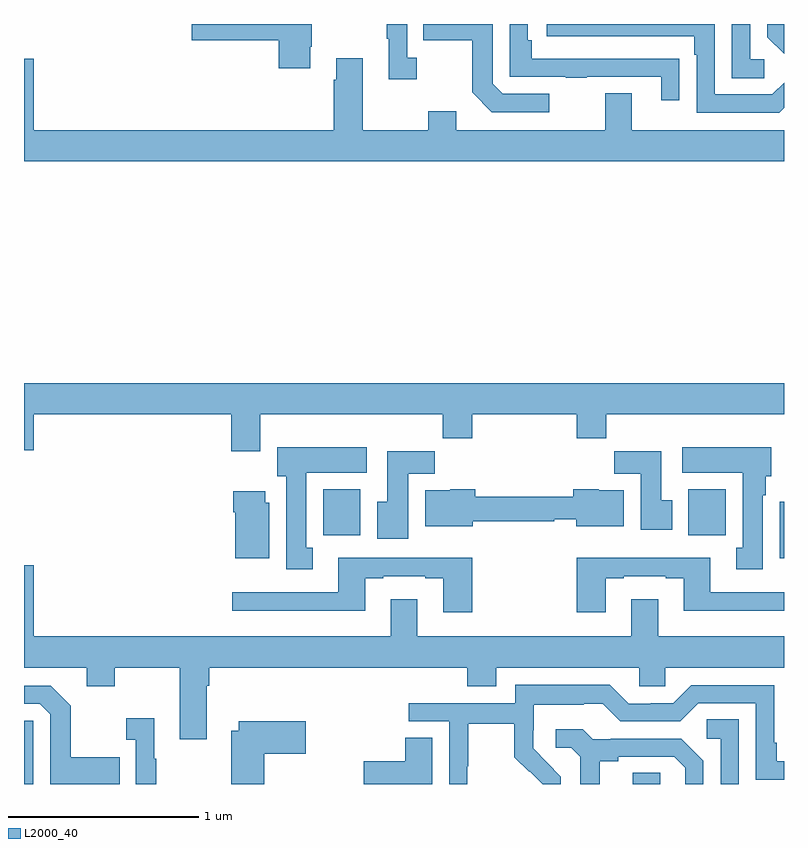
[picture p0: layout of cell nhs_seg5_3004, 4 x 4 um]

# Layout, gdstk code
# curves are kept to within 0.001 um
import gdstk
lib = gdstk.Library(unit=1e-6, precision=1e-09)
def R(c, l, rs):  # rectangles x0, y0, x1, y1
    for r in rs: c.add(gdstk.rectangle(r[:2], r[2:], *l))
def P(c, l, *ps):  # polygons
    for p in ps: c.add(gdstk.Polygon(p, *l))
L2000_40 = (2000, 40)

nhs_seg5_3004 = lib.new_cell('nhs_seg5_3004')
R(nhs_seg5_3004, L2000_40, [(285,870.799,285.048,871.131), (288.203,870.799,288.348,870.857), (288.977,871.988,289,872.284), (286.574,872.108,286.771,872.35), (288.497,872.108,288.694,872.35)])
P(nhs_seg5_3004, L2000_40, [(289,874.357),(289,874.489),(288.939,874.428),(288.636,874.428),(288.636,874.799),(287.751,874.799),(287.751,874.734),(288.527,874.734),(288.527,874.637),(288.54,874.637),(288.54,874.332),(288.975,874.332)],
  [(289,874.799),(288.912,874.799),(288.912,874.73),(289,874.642)],
  [(288.449,874.616),(288.347,874.616),(288.347,874.617),(287.672,874.617),(287.672,874.714),(287.652,874.714),(287.652,874.799),(287.556,874.799),(287.556,874.521),(287.851,874.521),(287.851,874.516),(287.963,874.516),(287.963,874.521),(288.353,874.521),(288.353,874.398),(288.449,874.398)],
  [(286.507,874.678),(286.515,874.678),(286.515,874.799),(285.882,874.799),(285.882,874.714),(286.34,874.714),(286.34,874.566),(286.507,874.566)],
  [(287.764,874.431),(287.52,874.431),(287.466,874.485),(287.466,874.799),(287.101,874.799),(287.101,874.714),(287.358,874.714),(287.358,874.441),(287.463,874.335),(287.764,874.335)],
  [(287.068,874.622),(287.016,874.622),(287.016,874.799),(286.908,874.799),(286.908,874.721),(286.919,874.721),(286.919,874.509),(287.068,874.509)],
  [(288.895,874.614),(288.822,874.614),(288.822,874.799),(288.726,874.799),(288.726,874.513),(288.895,874.513)],
  [(289,874.24),(288.199,874.24),(288.199,874.435),(288.059,874.435),(288.059,874.24),(287.275,874.24),(287.275,874.339),(287.128,874.339),(287.128,874.24),(286.783,874.24),(286.783,874.618),(286.643,874.618),(286.643,874.505),(286.631,874.505),(286.631,874.24),(285.052,874.24),(285.052,874.615),(285,874.615),(285,874.076),(289,874.076)],
  [(286.243,872.744),(287.203,872.744),(287.203,872.62),(287.36,872.62),(287.36,872.744),(287.909,872.744),(287.909,872.62),(288.065,872.62),(288.065,872.744),(289,872.744),(289,872.908),(285,872.908),(285,872.556),(285.052,872.556),(285.052,872.744),(286.091,872.744),(286.091,872.55),(286.243,872.55)],
  [(288.889,872.318),(288.904,872.318),(288.904,872.418),(288.934,872.418),(288.934,872.572),(288.465,872.572),(288.465,872.438),(288.782,872.438),(288.782,872.042),(288.749,872.042),(288.749,871.929),(288.889,871.929)],
  [(286.519,872.042),(286.486,872.042),(286.486,872.438),(286.804,872.438),(286.804,872.572),(286.334,872.572),(286.334,872.418),(286.379,872.418),(286.379,871.929),(286.519,871.929)],
  [(288.412,872.292),(288.355,872.292),(288.355,872.551),(288.106,872.551),(288.106,872.432),(288.245,872.432),(288.245,872.136),(288.412,872.136)],
  [(287.023,872.432),(287.162,872.432),(287.162,872.551),(286.913,872.551),(286.913,872.284),(286.859,872.284),(286.859,872.091),(287.023,872.091)],
  [(287.362,872.182),(287.792,872.182),(287.792,872.193),(287.906,872.193),(287.906,872.156),(288.157,872.156),(288.157,872.344),(288.024,872.344),(288.024,872.35),(287.892,872.35),(287.892,872.311),(287.375,872.311),(287.375,872.35),(287.244,872.35),(287.244,872.344),(287.111,872.344),(287.111,872.156),(287.362,872.156)],
  [(286.291,872.28),(286.27,872.28),(286.27,872.341),(286.1,872.341),(286.1,872.228),(286.112,872.228),(286.112,871.988),(286.291,871.988)],
  [(287.36,871.99),(287.115,871.99),(287.115,871.989),(286.655,871.989),(286.655,871.809),(286.095,871.809),(286.095,871.712),(286.795,871.712),(286.795,871.881),(286.891,871.881),(286.891,871.893),(287.111,871.893),(287.111,871.881),(287.207,871.881),(287.207,871.704),(287.36,871.704)],
  [(288.061,871.881),(288.157,871.881),(288.157,871.893),(288.377,871.893),(288.377,871.881),(288.473,871.881),(288.473,871.712),(289,871.712),(289,871.809),(288.613,871.809),(288.613,871.99),(287.909,871.99),(287.909,871.704),(288.061,871.704)],
  [(285.961,871.316),(285.974,871.316),(285.974,871.412),(287.333,871.412),(287.333,871.313),(287.485,871.313),(287.485,871.412),(288.237,871.412),(288.237,871.314),(288.375,871.314),(288.375,871.412),(289,871.412),(289,871.576),(288.337,871.576),(288.337,871.771),(288.197,871.771),(288.197,871.576),(287.071,871.576),(287.071,871.771),(286.931,871.771),(286.931,871.576),(285.052,871.576),(285.052,871.951),(285,871.951),(285,871.412),(285.329,871.412),(285.329,871.313),(285.477,871.313),(285.477,871.412),(285.821,871.412),(285.821,871.035),(285.961,871.035)],
  [(287.334,870.892),(287.337,870.892),(287.337,871.116),(287.581,871.116),(287.581,870.941),(287.658,870.864),(287.661,870.867),(287.73,870.799),(287.826,870.799),(287.826,870.838),(287.68,870.986),(287.68,871.083),(287.682,871.083),(287.682,871.217),(287.945,871.217),(287.945,871.221),(288.045,871.221),(288.138,871.128),(288.453,871.128),(288.549,871.224),(288.852,871.224),(288.852,870.822),(289,870.822),(289,870.918),(288.961,870.918),(288.961,871.015),(288.948,871.015),(288.948,871.32),(288.513,871.32),(288.417,871.224),(288.299,871.224),(288.299,871.221),(288.183,871.221),(288.083,871.321),(287.586,871.321),(287.586,871.224),(287.025,871.224),(287.025,871.128),(287.238,871.128),(287.238,870.799),(287.334,870.799)],
  [(285.503,870.939),(285.247,870.939),(285.247,871.211),(285.141,871.317),(285,871.317),(285,871.221),(285.084,871.221),(285.138,871.167),(285.138,870.799),(285.503,870.799)],
  [(285.697,870.931),(285.685,870.931),(285.685,871.144),(285.537,871.144),(285.537,871.031),(285.588,871.031),(285.588,870.799),(285.697,870.799)],
  [(288.762,871.139),(288.594,871.139),(288.594,871.038),(288.666,871.038),(288.666,870.799),(288.762,870.799)],
  [(286.265,870.959),(286.483,870.959),(286.483,871.129),(286.13,871.129),(286.13,871.078),(286.09,871.078),(286.09,870.799),(286.265,870.799)],
  [(288.031,870.92),(288.127,870.92),(288.127,870.942),(288.422,870.942),(288.479,870.885),(288.479,870.799),(288.576,870.799),(288.576,870.922),(288.46,871.038),(288.088,871.038),(288.088,871.035),(287.994,871.035),(287.942,871.087),(287.799,871.087),(287.799,870.99),(287.88,870.99),(287.927,870.943),(287.927,870.799),(288.031,870.799)],
  [(287.149,871.043),(287.006,871.043),(287.006,870.92),(286.788,870.92),(286.788,870.799),(287.149,870.799)])

lib.write_gds('nhs_seg5_3004.gds')
